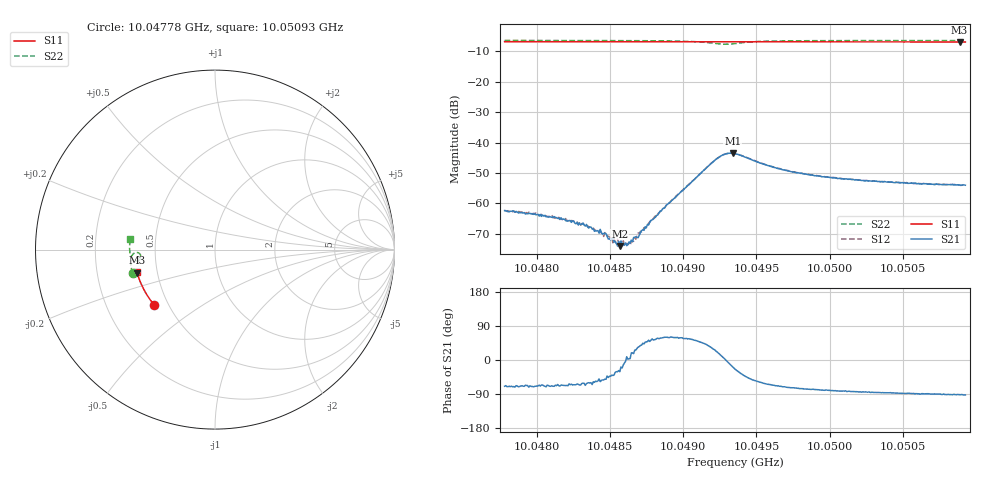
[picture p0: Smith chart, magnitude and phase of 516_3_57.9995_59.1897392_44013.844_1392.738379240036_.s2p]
#  HZ  S  RI  R  50.00
! Rohde & Schwarz Vector Network Analyzer
! Rohde-Schwarz,ZNB20-2Port,1311601062101988,3.16
! Created: UTC 3/21/2024, 1:13:24 AM
! freq[Hz]  re:S11  im:S11  re:S21  im:S21  re:S12  im:S12  re:S22  im:S22
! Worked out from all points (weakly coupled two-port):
!   401 points, 10.04778 GHz to 10.05093 GHz, reference 50 ohm
!   highest |S21| = -43.51 dB at 10.04934 GHz (marker M1); lowest = -74.0 dB at 10.04857 GHz (marker M2)
!   lowest |S11| = -6.9 dB at 10.05089 GHz (marker M3), VSWR 2.65, Z = 19.2 - j6.21 ohm
!   |S11| at or under -10 dB: nowhere
!   |S22| runs from -7.7 to -6.4 dB; largest |S21 - S12| = 0.00046
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1.0047779e10  -0.339 -0.3074  0.000271 -0.000714  0.000325 -0.000684  -0.4595 -0.1328
1.0047976e10  -0.3473 -0.2974  0.000217 -0.000624  0.000293 -0.000619  -0.4628 -0.1196
1.0048149e10  -0.3543 -0.2886  0.000214 -0.000525  0.000237 -0.000536  -0.4652 -0.1074
1.0048307e10  -0.3605 -0.2802  0.000212 -0.000401  0.000229 -0.000407  -0.4671 -0.0961
1.0048409e10  -0.3644 -0.2747  0.000192 -0.000294  0.000207 -0.000288  -0.4683 -0.0886
1.0048448e10  -0.3659 -0.2727  0.00019 -0.000248  0.000236 -0.000219  -0.4685 -0.0857
1.0048535e10  -0.3691 -0.2678  0.000197 -0.000127  0.000188 -0.000135  -0.4691 -0.0788
1.0048566e10  -0.3702 -0.2661  0.00017 -0.000102  0.00021 -8.98e-05  -0.4692 -0.0764
1.0048606e10  -0.3718 -0.2641  0.000222 -1.33e-05  0.000198 1.07e-05  -0.4694 -0.0731
1.0048621e10  -0.3724 -0.2632  0.00021 7.86e-06  0.00021 1.66e-06  -0.4696 -0.0718
1.0048645e10  -0.3733 -0.2618  0.000236 7.95e-05  0.000232 4.55e-05  -0.4696 -0.0698
1.0048692e10  -0.3749 -0.2591  0.000227 0.000154  0.00026 0.000197  -0.4698 -0.0658
1.0048834e10  -0.3799 -0.2514  0.000389 0.000579  0.000336 0.000598  -0.469 -0.0529
1.004922e10  -0.3923 -0.2292  0.00473 0.00221  0.0046 0.00248  -0.4266 -0.0184
1.0049283e10  -0.3942 -0.2258  0.00641 0.000346  0.0064 0.000681  -0.4132 -0.0348
1.0049338e10  -0.3957 -0.2229  0.00634 -0.0021  0.00647 -0.00165  -0.4175 -0.0543
1.0049354e10  -0.3961 -0.222  0.00599 -0.00264  0.00618 -0.00227  -0.4214 -0.0581
1.0049637e10  -0.405 -0.2056  0.00143 -0.00352  0.00166 -0.00347  -0.4676 -0.042
1.0049881e10  -0.4118 -0.1909  0.000642 -0.00284  0.000775 -0.00284  -0.474 -0.0181
1.0050409e10  -0.4243 -0.1589  0.000136 -0.00223  0.000267 -0.00221  -0.4753 0.0227
1.0050889e10  -0.4334 -0.1286  -4.38e-05 -0.002  2.35e-05 -0.00201  -0.4727 0.0561
1.0050928e10  -0.4343 -0.1263  -7.66e-05 -0.00199  6.98e-05 -0.00197  -0.4724 0.0588
